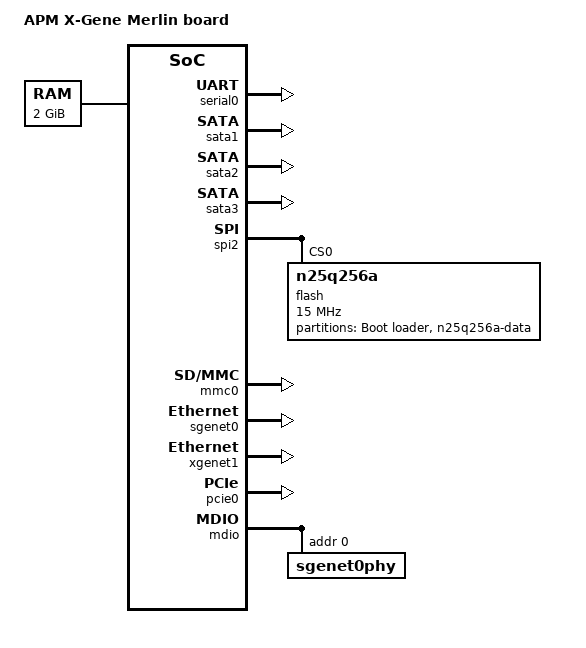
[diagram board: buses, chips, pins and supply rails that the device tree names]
/*
 * dts file for AppliedMicro (APM) Merlin Board
 *
 * Copyright (C) 2014, Applied Micro Circuits Corporation
 *
 * This program is free software; you can redistribute it and/or
 * modify it under the terms of the GNU General Public License as
 * published by the Free Software Foundation; either version 2 of
 * the License, or (at your option) any later version.
 */

/dts-v1/;

/include/ "apm-shadowcat.dtsi"

/ {
	model = "APM X-Gene Merlin board";
	compatible = "apm,merlin", "apm,xgene-shadowcat";

	chosen { };

	memory {
		device_type = "memory";
		reg = < 0x1 0x00000000 0x0 0x80000000 >; /* Updated by bootloader */
	};
};

&serial0 {
	status = "ok";
};

&sata1 {
	status = "ok";
};

&sata2 { 
	status = "ok";
};

&sata3 {
	status = "ok";
};

&spi2 {
	status = "ok";

	flash: n25q256a@0 {
	status = "ok";
	cell-index = <0>;
	#address-cells = <1>;
	#size-cells = <1>;
		compatible = "n25q256a";
		reg = <0>;
		spi-max-frequency = <15000000>;
		spi-cpha;
		spi-cpol;

		partition@0x00000000 {
			label =	"Boot loader";
			reg = <0x00000000 0x01000000>;
		};
		partition@0x01000000 {
			label = "n25q256a-data";
			reg = <0x01000000 0x01000000>;
		};
	};
};

&rdmahv0 {
	status = "ok";
};

&rdmahv1 {
	status = "ok";
};

&rdma {
	status = "ok";
};

&mmc0 {
	status = "ok";
};

&sgenet0 {
        status = "ok";
};

&xgenet1 {
        status = "ok";
};

&pcie0clk {
	status = "ok";
};

&pcie0 {
	status = "ok";
};
&mdio {
	sgenet0phy: sgenet0phy@ {
		reg = <0x0>;
	};
	/*
	sgenet1phy: sgenet1phy@2 {
		reg = <0x2>;
	};	
	*/
};

&smmu {
	status = "ok";
};
